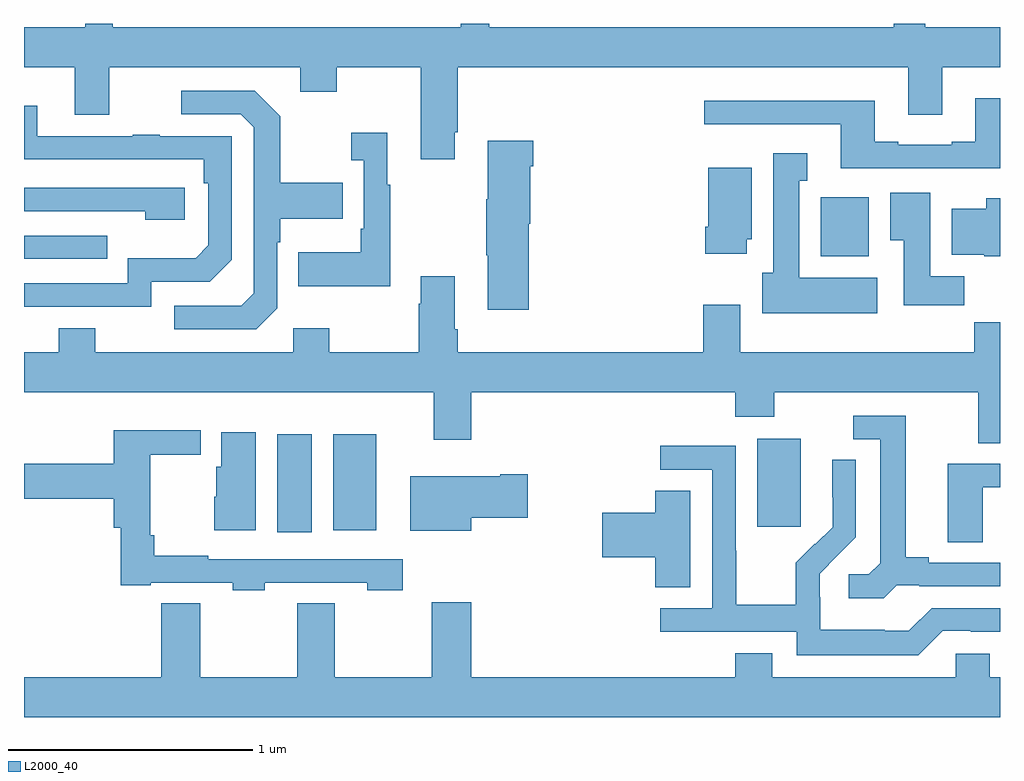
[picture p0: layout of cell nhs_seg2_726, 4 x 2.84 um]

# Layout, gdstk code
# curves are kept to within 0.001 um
import gdstk
lib = gdstk.Library(unit=1e-6, precision=1e-09)
def R(c, l, rs):  # rectangles x0, y0, x1, y1
    for r in rs: c.add(gdstk.rectangle(r[:2], r[2:], *l))
def P(c, l, *ps):  # polygons
    for p in ps: c.add(gdstk.Polygon(p, *l))
L2000_40 = (2000, 40)

nhs_seg2_726 = lib.new_cell('nhs_seg2_726')
R(nhs_seg2_726, L2000_40, [(148.037,661.716,148.18,662.116), (148.268,661.724,148.444,662.116), (150.005,661.737,150.184,662.098), (147,662.835,147.341,662.931), (150.266,662.846,150.463,663.088)])
P(nhs_seg2_726, L2000_40, [(148.765,663.355),(148.778,663.355),(148.778,663.62),(150.623,663.62),(150.623,663.426),(150.763,663.426),(150.763,663.62),(151,663.62),(151,663.784),(150.694,663.784),(150.694,663.8),(150.565,663.8),(150.565,663.784),(148.906,663.784),(148.906,663.8),(148.789,663.8),(148.789,663.784),(147.364,663.784),(147.364,663.8),(147.25,663.8),(147.25,663.784),(147,663.784),(147,663.62),(147.209,663.62),(147.209,663.426),(147.349,663.426),(147.349,663.62),(148.133,663.62),(148.133,663.521),(148.281,663.521),(148.281,663.62),(148.625,663.62),(148.625,663.243),(148.765,663.243)],
  [(148.038,662.634),(148.038,662.903),(148.051,662.903),(148.051,662.999),(148.307,662.999),(148.307,663.147),(148.051,663.147),(148.051,663.419),(147.945,663.525),(147.645,663.525),(147.645,663.429),(147.888,663.429),(147.942,663.375),(147.942,662.694),(147.891,662.643),(147.615,662.643),(147.615,662.547),(147.951,662.547)],
  [(151,663.493),(150.899,663.493),(150.899,663.316),(150.803,663.316),(150.803,663.303),(150.583,663.303),(150.583,663.316),(150.487,663.316),(150.487,663.484),(149.787,663.484),(149.787,663.387),(150.347,663.387),(150.347,663.207),(151,663.207)],
  [(147.522,662.742),(147.762,662.742),(147.852,662.832),(147.852,663.339),(147.557,663.339),(147.557,663.344),(147.445,663.344),(147.445,663.339),(147.055,663.339),(147.055,663.463),(147,663.463),(147,663.244),(147.736,663.243),(147.736,663.146),(147.756,663.146),(147.756,662.892),(147.703,662.839),(147.426,662.839),(147.426,662.736),(147,662.736),(147,662.64),(147.522,662.64)],
  [(148.501,663.139),(148.489,663.139),(148.489,663.352),(148.341,663.352),(148.341,663.239),(148.392,663.239),(148.392,662.959),(148.38,662.959),(148.38,662.863),(148.123,662.863),(148.123,662.723),(148.501,662.723)],
  [(149.069,662.979),(149.074,662.979),(149.074,663.215),(149.087,663.215),(149.087,663.319),(148.901,663.319),(148.901,663.079),(148.894,663.079),(148.894,662.851),(148.901,662.851),(148.901,662.628),(149.069,662.628)],
  [(150.496,662.758),(150.178,662.758),(150.178,663.155),(150.211,663.155),(150.211,663.268),(150.071,663.268),(150.071,662.778),(150.026,662.778),(150.026,662.612),(150.496,662.612)],
  [(149.962,662.916),(149.983,662.916),(149.983,663.208),(149.804,663.208),(149.804,662.968),(149.792,662.968),(149.792,662.856),(149.962,662.856)],
  [(147.658,663.126),(147,663.126),(147,663.03),(147.497,663.03),(147.497,662.996),(147.658,662.996)],
  [(150.854,662.764),(150.715,662.764),(150.715,663.106),(150.551,663.106),(150.551,662.912),(150.605,662.912),(150.605,662.646),(150.854,662.646)],
  [(151,663.084),(150.944,663.084),(150.944,663.04),(150.803,663.04),(150.803,662.852),(150.936,662.852),(150.936,662.846),(151,662.846)],
  [(151,662.576),(150.895,662.576),(150.895,662.452),(149.935,662.452),(149.935,662.647),(149.783,662.647),(149.783,662.452),(148.778,662.452),(148.778,662.548),(148.765,662.548),(148.765,662.764),(148.625,662.764),(148.625,662.651),(148.618,662.651),(148.618,662.452),(148.251,662.452),(148.251,662.551),(148.104,662.551),(148.104,662.452),(147.291,662.452),(147.291,662.551),(147.143,662.551),(147.143,662.452),(147,662.452),(147,662.288),(148.679,662.288),(148.679,662.094),(148.832,662.094),(148.832,662.288),(149.915,662.288),(149.915,662.189),(150.075,662.189),(150.075,662.288),(150.911,662.288),(150.911,662.08),(151,662.08)],
  [(150.576,661.497),(150.67,661.497),(150.67,661.494),(151,661.494),(151,661.59),(150.709,661.59),(150.709,661.613),(150.613,661.613),(150.613,662.193),(150.399,662.193),(150.399,662.097),(150.509,662.097),(150.509,661.589),(150.462,661.542),(150.381,661.542),(150.381,661.445),(150.524,661.445)],
  [(147.987,661.509),(148.407,661.509),(148.407,661.477),(148.552,661.477),(148.552,661.605),(147.755,661.605),(147.755,661.618),(147.533,661.618),(147.533,661.702),(147.518,661.702),(147.518,662.032),(147.724,662.032),(147.724,662.134),(147.368,662.134),(147.368,661.995),(147,661.995),(147,661.853),(147.368,661.853),(147.368,661.733),(147.397,661.733),(147.397,661.497),(147.52,661.497),(147.52,661.509),(147.855,661.509),(147.855,661.477),(147.987,661.477)],
  [(147.949,662.125),(147.809,662.125),(147.809,661.983),(147.788,661.983),(147.788,661.86),(147.779,661.86),(147.779,661.724),(147.949,661.724)],
  [(150.765,661.311),(150.881,661.311),(150.881,661.308),(151,661.307),(151,661.404),(150.72,661.404),(150.627,661.311),(150.527,661.311),(150.527,661.315),(150.264,661.315),(150.264,661.449),(150.262,661.449),(150.262,661.546),(150.408,661.694),(150.408,662.012),(150.312,662.012),(150.312,661.858),(150.314,661.858),(150.314,661.736),(150.243,661.665),(150.24,661.668),(150.163,661.591),(150.163,661.417),(149.919,661.417),(149.919,661.64),(149.916,661.64),(149.916,662.07),(149.607,662.07),(149.607,661.971),(149.82,661.971),(149.82,661.404),(149.607,661.404),(149.607,661.308),(150.168,661.308),(150.168,661.211),(150.665,661.211)],
  [(150.93,661.899),(151,661.899),(151,661.995),(150.785,661.995),(150.785,661.675),(150.93,661.675)],
  [(148.834,661.775),(149.065,661.775),(149.065,661.953),(148.952,661.953),(148.952,661.945),(148.583,661.945),(148.583,661.721),(148.834,661.721)],
  [(149.731,661.886),(149.588,661.886),(149.588,661.796),(149.37,661.796),(149.37,661.613),(149.588,661.613),(149.588,661.489),(149.731,661.489)],
  [(151,661.12),(150.957,661.12),(150.957,661.218),(150.819,661.218),(150.819,661.12),(150.067,661.12),(150.067,661.219),(149.915,661.219),(149.915,661.12),(148.832,661.12),(148.832,661.429),(148.672,661.429),(148.672,661.12),(148.274,661.12),(148.274,661.424),(148.12,661.424),(148.12,661.12),(147.722,661.12),(147.722,661.424),(147.563,661.424),(147.563,661.12),(147,661.12),(147,660.956),(151,660.956)])

lib.write_gds('nhs_seg2_726.gds')
